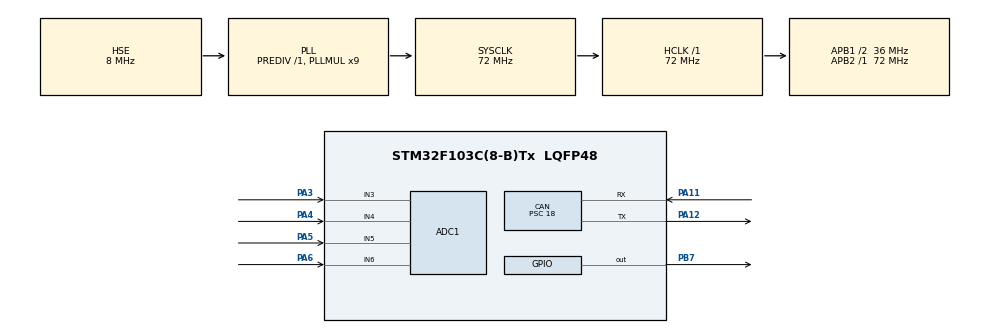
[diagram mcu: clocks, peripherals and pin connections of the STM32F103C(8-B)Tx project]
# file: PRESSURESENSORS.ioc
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ADC1.Channel-0\#ChannelRegularConversion=ADC_CHANNEL_3
ADC1.Channel-1\#ChannelRegularConversion=ADC_CHANNEL_4
ADC1.Channel-2\#ChannelRegularConversion=ADC_CHANNEL_5
ADC1.Channel-3\#ChannelRegularConversion=ADC_CHANNEL_6
ADC1.ContinuousConvMode=ENABLE
ADC1.NbrOfConversion=4
ADC1.NbrOfConversionFlag=1
ADC1.Rank-0\#ChannelRegularConversion=1
ADC1.Rank-1\#ChannelRegularConversion=2
ADC1.Rank-2\#ChannelRegularConversion=3
ADC1.Rank-3\#ChannelRegularConversion=4
ADC1.SamplingTime-0\#ChannelRegularConversion=ADC_SAMPLETIME_55CYCLES_5
ADC1.SamplingTime-1\#ChannelRegularConversion=ADC_SAMPLETIME_55CYCLES_5
ADC1.SamplingTime-2\#ChannelRegularConversion=ADC_SAMPLETIME_55CYCLES_5
ADC1.SamplingTime-3\#ChannelRegularConversion=ADC_SAMPLETIME_55CYCLES_5
ADC1.master=1
CAN.BS1=CAN_BS1_2TQ
CAN.CalculateBaudRate=500000
CAN.CalculateTimeBit=2000
CAN.CalculateTimeQuantum=500.0
CAN.Prescaler=18
Dma.ADC1.0.Direction=DMA_PERIPH_TO_MEMORY
Dma.ADC1.0.Instance=DMA1_Channel1
Dma.ADC1.0.MemDataAlignment=DMA_MDATAALIGN_HALFWORD
Dma.ADC1.0.MemInc=DMA_MINC_ENABLE
Dma.ADC1.0.Mode=DMA_CIRCULAR
Dma.ADC1.0.PeriphDataAlignment=DMA_PDATAALIGN_HALFWORD
Dma.ADC1.0.PeriphInc=DMA_PINC_DISABLE
Dma.ADC1.0.Priority=DMA_PRIORITY_LOW
Dma.Request0=ADC1
Mcu.Family=STM32F1
Mcu.Name=STM32F103C(8-B)Tx
Mcu.Package=LQFP48
NVIC.DMA1_Channel1_IRQn=true\:0\:0\:false\:false\:true\:false\:true\:true
NVIC.PriorityGroup=NVIC_PRIORITYGROUP_4
PA11.Mode=CAN_Activate
PA11.Signal=CAN_RX
PA12.Mode=CAN_Activate
PA12.Signal=CAN_TX
PA13.Mode=Serial_Wire
PA13.Signal=SYS_JTMS-SWDIO
PA14.Mode=Serial_Wire
PA14.Signal=SYS_JTCK-SWCLK
PA3.Signal=ADCx_IN3
PA4.Signal=ADCx_IN4
PA5.Signal=ADCx_IN5
PA6.Signal=ADCx_IN6
PB7.Signal=GPIO_Output
PD0-OSC_IN.Mode=HSE-External-Oscillator
PD0-OSC_IN.Signal=RCC_OSC_IN
PD1-OSC_OUT.Mode=HSE-External-Oscillator
PD1-OSC_OUT.Signal=RCC_OSC_OUT
ProjectManager.HeapSize=0x200
ProjectManager.StackSize=0x400
ProjectManager.TargetToolchain=CMake
RCC.ADCPresc=RCC_ADCPCLK2_DIV6
RCC.AHBFreq_Value=72000000
RCC.APB1CLKDivider=RCC_HCLK_DIV2
RCC.APB1Freq_Value=36000000
RCC.APB1TimFreq_Value=72000000
RCC.APB2Freq_Value=72000000
RCC.APB2TimFreq_Value=72000000
RCC.HCLKFreq_Value=72000000
RCC.PLLMUL=RCC_PLL_MUL9
RCC.PLLSourceVirtual=RCC_PLLSOURCE_HSE
RCC.SYSCLKFreq_VALUE=72000000
RCC.SYSCLKSource=RCC_SYSCLKSOURCE_PLLCLK
RCC.USBFreq_Value=72000000
SH.ADCx_IN3.0=ADC1_IN3,IN3
SH.ADCx_IN4.0=ADC1_IN4,IN4
SH.ADCx_IN5.0=ADC1_IN5,IN5
SH.ADCx_IN6.0=ADC1_IN6,IN6
board=custom

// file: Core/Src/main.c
/* USER CODE BEGIN Header */
/**
 ******************************************************************************
 * @file           : main.c
 * @brief          : Main program body
 ******************************************************************************
 * @attention
 *
 * Copyright (c) 2025 STMicroelectronics.
 * All rights reserved.
 *
 * This software is licensed under terms that can be found in the LICENSE file
 * in the root directory of this software component.
 * If no LICENSE file comes with this software, it is provided AS-IS.
 *
 ******************************************************************************
 */
/* USER CODE END Header */
#include "main.h"

/* USER CODE BEGIN PD */
#define NUM_SENSORS 4       // PA3..PA6 -> ADC channels 3..6
#define CAN_PERIOD_MS 100   // time between CAN frames
/* USER CODE END PD */

ADC_HandleTypeDef hadc1;
DMA_HandleTypeDef hdma_adc1;

CAN_HandleTypeDef hcan;

void SystemClock_Config(void);
static void MX_GPIO_Init(void);
static void MX_DMA_Init(void);
static void MX_ADC1_Init(void);
static void MX_CAN_Init(void);

/* USER CODE BEGIN 0 */
CAN_TxHeaderTypeDef TxHeader;
uint8_t TxData[8];
uint32_t TxMailbox, prevTime;
uint16_t adc_values[NUM_SENSORS];
float pressures[NUM_SENSORS];

/* USER CODE END 0 */

int main(void)
{

  /* MCU Configuration--------------------------------------------------------*/

  /* Reset of all peripherals, Initializes the Flash interface and the Systick. */
  HAL_Init();

  /* Configure the system clock */
  SystemClock_Config();

  /* Initialize all configured peripherals */
  MX_GPIO_Init();
  MX_DMA_Init();
  MX_ADC1_Init();
  MX_CAN_Init();
  /* USER CODE BEGIN 2 */

  if (HAL_CAN_Start(&hcan) != HAL_OK)
  {
    Error_Handler();
  }
  if (HAL_ADC_Start_DMA(&hadc1, (uint32_t *)adc_values, NUM_SENSORS) != HAL_OK)
  {
    Error_Handler();
  }

  TxHeader.DLC = 8;
  TxHeader.ExtId = 0;
  TxHeader.IDE = CAN_ID_STD;
  TxHeader.RTR = CAN_RTR_DATA;
  TxHeader.StdId = 0x321;
  TxHeader.TransmitGlobalTime = DISABLE;

  /* USER CODE END 2 */

  /* Infinite loop */
  while (1)
  {

    /* USER CODE BEGIN 3 */
    // Send one frame every CAN_PERIOD_MS without blocking the main loop
    if (HAL_GetTick() - prevTime < CAN_PERIOD_MS)
    {
      continue;
    }
    prevTime = HAL_GetTick();

    for (int i = 0; i < NUM_SENSORS; i++)
    {
      float v_out = (adc_values[i] * 5.0f) / 4095.0f; // Convert ADC to voltage
      float p_kpa = ((v_out / 5.0f) + 0.00842f) / 0.002421f;
      pressures[i] = p_kpa;
    }

    // Pack into CAN data (2 bytes per pressure value, big-endian, 0.1 kPa resolution)
    for (int i = 0; i < NUM_SENSORS; i++)
    {
      float scaled = pressures[i] * 10.0f; // Example: 101.5 kPa -> 1015

      // Keep the value inside the uint16_t range (converting a negative float is undefined)
      if (scaled < 0.0f)
      {
        scaled = 0.0f;
      }
      else if (scaled > 65535.0f)
      {
        scaled = 65535.0f;
      }

      uint16_t pressure_scaled = (uint16_t)scaled;
      TxData[i * 2] = pressure_scaled >> 8;
      TxData[i * 2 + 1] = pressure_scaled & 0xFF;
    }

    // Transmit CAN frame (8 bytes). If no mailbox is free the frame is dropped.
    if (HAL_CAN_AddTxMessage(&hcan, &TxHeader, TxData, &TxMailbox) != HAL_OK)
    {
      // TODO: count or signal failed transmissions
    }

  /* USER CODE END 3 */
}

void SystemClock_Config(void)
{
  RCC_OscInitTypeDef RCC_OscInitStruct = {0};
  RCC_ClkInitTypeDef RCC_ClkInitStruct = {0};
  RCC_PeriphCLKInitTypeDef PeriphClkInit = {0};

  /** Initializes the RCC Oscillators according to the specified parameters
  * in the RCC_OscInitTypeDef structure.
  */
  RCC_OscInitStruct.OscillatorType = RCC_OSCILLATORTYPE_HSE;
  RCC_OscInitStruct.HSEState = RCC_HSE_ON;
  RCC_OscInitStruct.HSEPredivValue = RCC_HSE_PREDIV_DIV1;
  RCC_OscInitStruct.HSIState = RCC_HSI_ON;
  RCC_OscInitStruct.PLL.PLLState = RCC_PLL_ON;
  RCC_OscInitStruct.PLL.PLLSource = RCC_PLLSOURCE_HSE;
  RCC_OscInitStruct.PLL.PLLMUL = RCC_PLL_MUL9;
  if (HAL_RCC_OscConfig(&RCC_OscInitStruct) != HAL_OK)
  {
    Error_Handler();
  }

  /** Initializes the CPU, AHB and APB buses clocks
  */
  RCC_ClkInitStruct.ClockType = RCC_CLOCKTYPE_HCLK|RCC_CLOCKTYPE_SYSCLK
                              |RCC_CLOCKTYPE_PCLK1|RCC_CLOCKTYPE_PCLK2;
  RCC_ClkInitStruct.SYSCLKSource = RCC_SYSCLKSOURCE_PLLCLK;
  RCC_ClkInitStruct.AHBCLKDivider = RCC_SYSCLK_DIV1;
  RCC_ClkInitStruct.APB1CLKDivider = RCC_HCLK_DIV2;
  RCC_ClkInitStruct.APB2CLKDivider = RCC_HCLK_DIV1;

  if (HAL_RCC_ClockConfig(&RCC_ClkInitStruct, FLASH_LATENCY_2) != HAL_OK)
  {
    Error_Handler();
  }
  PeriphClkInit.PeriphClockSelection = RCC_PERIPHCLK_ADC;
  PeriphClkInit.AdcClockSelection = RCC_ADCPCLK2_DIV6;
  if (HAL_RCCEx_PeriphCLKConfig(&PeriphClkInit) != HAL_OK)
  {
    Error_Handler();
  }
}

static void MX_ADC1_Init(void)
{

  ADC_ChannelConfTypeDef sConfig = {0};

  /** Common config
  */
  hadc1.Instance = ADC1;
  hadc1.Init.ScanConvMode = ADC_SCAN_ENABLE;
  hadc1.Init.ContinuousConvMode = ENABLE;
  hadc1.Init.DiscontinuousConvMode = DISABLE;
  hadc1.Init.ExternalTrigConv = ADC_SOFTWARE_START;
  hadc1.Init.DataAlign = ADC_DATAALIGN_RIGHT;
  hadc1.Init.NbrOfConversion = 4;
  if (HAL_ADC_Init(&hadc1) != HAL_OK)
  {
    Error_Handler();
  }

  /** Configure Regular Channel
  */
  sConfig.Channel = ADC_CHANNEL_3;
  sConfig.Rank = ADC_REGULAR_RANK_1;
  sConfig.SamplingTime = ADC_SAMPLETIME_55CYCLES_5;
  if (HAL_ADC_ConfigChannel(&hadc1, &sConfig) != HAL_OK)
  {
    Error_Handler();
  }

  /** Configure Regular Channel
  */
  sConfig.Channel = ADC_CHANNEL_4;
  sConfig.Rank = ADC_REGULAR_RANK_2;
  if (HAL_ADC_ConfigChannel(&hadc1, &sConfig) != HAL_OK)
  {
    Error_Handler();
  }

  /** Configure Regular Channel
  */
  sConfig.Channel = ADC_CHANNEL_5;
  sConfig.Rank = ADC_REGULAR_RANK_3;
  if (HAL_ADC_ConfigChannel(&hadc1, &sConfig) != HAL_OK)
  {
    Error_Handler();
  }

  /** Configure Regular Channel
  */
  sConfig.Channel = ADC_CHANNEL_6;
  sConfig.Rank = ADC_REGULAR_RANK_4;
  if (HAL_ADC_ConfigChannel(&hadc1, &sConfig) != HAL_OK)
  {
    Error_Handler();
  }

}

static void MX_CAN_Init(void)
{

  hcan.Instance = CAN1;
  hcan.Init.Prescaler = 18;
  hcan.Init.Mode = CAN_MODE_NORMAL;
  hcan.Init.SyncJumpWidth = CAN_SJW_1TQ;
  hcan.Init.TimeSeg1 = CAN_BS1_2TQ;
  hcan.Init.TimeSeg2 = CAN_BS2_1TQ;
  hcan.Init.TimeTriggeredMode = DISABLE;
  hcan.Init.AutoBusOff = DISABLE;
  hcan.Init.AutoWakeUp = DISABLE;
  hcan.Init.AutoRetransmission = DISABLE;
  hcan.Init.ReceiveFifoLocked = DISABLE;
  hcan.Init.TransmitFifoPriority = DISABLE;
  if (HAL_CAN_Init(&hcan) != HAL_OK)
  {
    Error_Handler();
  }

}

static void MX_DMA_Init(void)
{

  /* DMA controller clock enable */
  __HAL_RCC_DMA1_CLK_ENABLE();

  /* DMA interrupt init */
  /* DMA1_Channel1_IRQn interrupt configuration */
  HAL_NVIC_SetPriority(DMA1_Channel1_IRQn, 0, 0);
  HAL_NVIC_EnableIRQ(DMA1_Channel1_IRQn);

}

static void MX_GPIO_Init(void)
{
  GPIO_InitTypeDef GPIO_InitStruct = {0};

  /* GPIO Ports Clock Enable */
  __HAL_RCC_GPIOD_CLK_ENABLE();
  __HAL_RCC_GPIOA_CLK_ENABLE();
  __HAL_RCC_GPIOB_CLK_ENABLE();

  /*Configure GPIO pin Output Level */
  HAL_GPIO_WritePin(GPIOB, GPIO_PIN_7, GPIO_PIN_RESET);

  /*Configure GPIO pin : PB7 */
  GPIO_InitStruct.Pin = GPIO_PIN_7;
  GPIO_InitStruct.Mode = GPIO_MODE_OUTPUT_PP;
  GPIO_InitStruct.Pull = GPIO_NOPULL;
  GPIO_InitStruct.Speed = GPIO_SPEED_FREQ_LOW;
  HAL_GPIO_Init(GPIOB, &GPIO_InitStruct);

}

void Error_Handler(void)
{
  __disable_irq();
  while (1)
  {
  }
}
